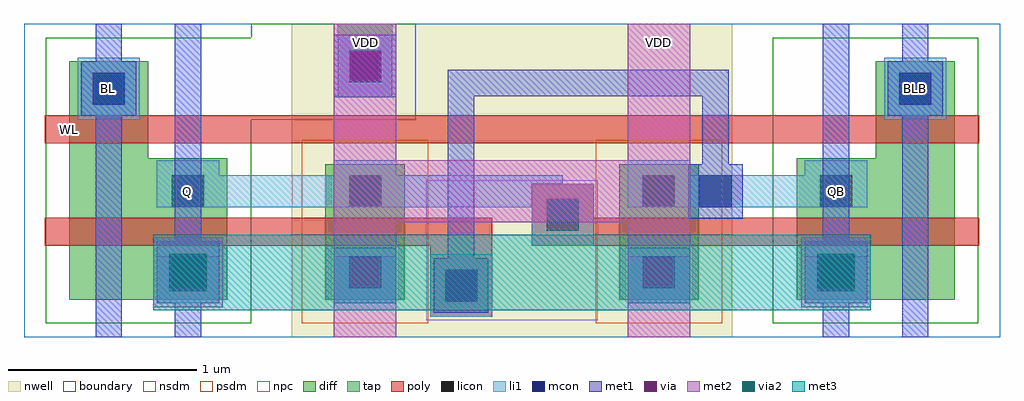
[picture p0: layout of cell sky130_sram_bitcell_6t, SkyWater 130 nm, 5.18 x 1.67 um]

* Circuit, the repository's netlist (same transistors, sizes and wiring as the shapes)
** sch_path: design/bitcell/bitcell_6t.sch
.subckt bitcell_6t BL BLB WL VDD VSS
*.iopin BL
*.iopin BLB
*.iopin WL
*.iopin VDD
*.iopin VSS
XMPL Q QB VDD VDD sky130_fd_pr__pfet_01v8 L=0.15 W=0.42 nf=1 ad=0.1218 as=0.1218 pd=1.42 ps=1.42
+ nrd=0.6905 nrs=0.6905 sa=0 sb=0 sd=0 mult=1 m=1
XMPR QB Q VDD VDD sky130_fd_pr__pfet_01v8 L=0.15 W=0.42 nf=1 ad=0.1218 as=0.1218 pd=1.42 ps=1.42
+ nrd=0.6905 nrs=0.6905 sa=0 sb=0 sd=0 mult=1 m=1
XMNL Q QB VSS VSS sky130_fd_pr__nfet_01v8 L=0.15 W=0.84 nf=1 ad=0.2436 as=0.2436 pd=2.26 ps=2.26
+ nrd=0.3452 nrs=0.3452 sa=0 sb=0 sd=0 mult=1 m=1
XMNR QB Q VSS VSS sky130_fd_pr__nfet_01v8 L=0.15 W=0.84 nf=1 ad=0.2436 as=0.2436 pd=2.26 ps=2.26
+ nrd=0.3452 nrs=0.3452 sa=0 sb=0 sd=0 mult=1 m=1
XMAL BL WL Q VSS sky130_fd_pr__nfet_01v8 L=0.15 W=0.42 nf=1 ad=0.1218 as=0.1218 pd=1.42 ps=1.42
+ nrd=0.6905 nrs=0.6905 sa=0 sb=0 sd=0 mult=1 m=1
XMAR BLB WL QB VSS sky130_fd_pr__nfet_01v8 L=0.15 W=0.42 nf=1 ad=0.1218 as=0.1218 pd=1.42 ps=1.42
+ nrd=0.6905 nrs=0.6905 sa=0 sb=0 sd=0 mult=1 m=1
.ends

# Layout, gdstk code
import gdstk
lib = gdstk.Library(unit=1e-6, precision=1e-09)
def R(c, l, rs):  # rectangles x0, y0, x1, y1
    for r in rs: c.add(gdstk.rectangle(r[:2], r[2:], *l))
nwell = (64, 20)
diff = (65, 20)
tap = (65, 44)
poly = (66, 20)
licon = (66, 44)
li1 = (67, 20)
mcon = (67, 44)
met1 = (68, 20)
via = (68, 44)
met2 = (69, 20)
via2 = (69, 44)
met3 = (70, 20)
nsdm = (93, 44)
psdm = (94, 20)
npc = (95, 20)
boundary = (235, 4)

sky130_sram_bitcell_6t = lib.new_cell('sky130_sram_bitcell_6t')
R(sky130_sram_bitcell_6t, nwell, [(1.42,0,3.76,1.665)])
R(sky130_sram_bitcell_6t, diff, [(0.24,0.2,1.08,0.95), (0.24,0.2,0.66,1.465), (1.6,0.2,2.02,0.92), (3.16,0.2,3.58,0.92), (4.1,0.2,4.94,0.95), (4.52,0.2,4.94,1.465)])
R(sky130_sram_bitcell_6t, tap, [(1.665,1.28,1.955,1.665)])
R(sky130_sram_bitcell_6t, poly, [(2.155,0.11,2.485,0.635), (0.11,0.485,2.485,0.635), (1.47,0.485,2.15,0.635), (2.695,0.485,5.07,0.635), (2.695,0.485,3.025,0.815), (3.03,0.485,3.71,0.635), (0.11,1.03,5.07,1.18)])
R(sky130_sram_bitcell_6t, licon, [(2.235,0.19,2.405,0.36), (0.785,0.26,0.955,0.43), (1.725,0.26,1.895,0.43), (3.285,0.26,3.455,0.43), (4.225,0.26,4.395,0.43), (2.775,0.565,2.945,0.735), (0.785,0.69,0.955,0.86), (1.725,0.69,1.895,0.86), (3.285,0.69,3.455,0.86), (4.225,0.69,4.395,0.86), (0.365,1.235,0.535,1.405), (4.645,1.235,4.815,1.405), (1.725,1.355,1.895,1.525)])
R(sky130_sram_bitcell_6t, li1, [(2.155,0.11,2.485,0.44), (0.705,0.18,1.035,0.43), (1.645,0.18,1.975,0.43), (3.205,0.18,3.535,0.43), (4.145,0.18,4.475,0.43), (2.695,0.485,3.025,0.815), (0.705,0.69,1.035,0.94), (0.87,0.69,2.86,0.86), (1.645,0.69,1.975,0.94), (3.205,0.69,3.535,0.94), (3.37,0.69,4.31,0.86), (3.585,0.69,3.755,0.86), (4.145,0.69,4.475,0.94), (0.285,1.155,0.615,1.485), (4.565,1.155,4.895,1.485), (1.645,1.275,1.975,1.605)])
R(sky130_sram_bitcell_6t, mcon, [(2.235,0.19,2.405,0.36), (0.785,0.26,0.955,0.43), (1.725,0.26,1.895,0.43), (3.285,0.26,3.455,0.43), (4.225,0.26,4.395,0.43), (3.585,0.69,3.755,0.86), (0.365,1.235,0.535,1.405), (4.645,1.235,4.815,1.405), (1.725,1.355,1.895,1.525)])
R(sky130_sram_bitcell_6t, met1, [(0.38,0,0.52,1.665), (0.8,0,0.94,1.665), (4.24,0,4.38,1.665), (4.66,0,4.8,1.665), (2.175,0.13,2.465,0.42), (0.705,0.18,1.035,0.51), (1.645,0.18,1.975,0.475), (3.205,0.18,3.535,0.475), (4.145,0.18,4.475,0.51), (2.25,0.275,2.39,1.42), (3.525,0.63,3.815,0.92), (3.6,0.775,3.74,1.42), (0.305,1.175,0.595,1.465), (4.585,1.175,4.875,1.465), (1.645,1.275,1.975,1.605), (2.25,1.28,3.74,1.42)])
R(sky130_sram_bitcell_6t, via, [(0.795,0.27,0.945,0.42), (1.735,0.27,1.885,0.42), (3.295,0.27,3.445,0.42), (4.235,0.27,4.385,0.42), (1.735,1.365,1.885,1.515)])
R(sky130_sram_bitcell_6t, met2, [(1.645,0,1.975,1.665), (3.205,0,3.535,1.665), (0.685,0.16,1.055,0.53), (4.125,0.16,4.495,0.53), (1.81,0.61,3.37,0.94)])
R(sky130_sram_bitcell_6t, via2, [(0.77,0.245,0.97,0.445), (4.21,0.245,4.41,0.445)])
R(sky130_sram_bitcell_6t, met3, [(0.685,0.145,4.495,0.545)])
R(sky130_sram_bitcell_6t, nsdm, [(0.115,0.075,1.205,1.59), (3.975,0.075,5.065,1.59), (1.205,1.155,2.08,1.665)])
R(sky130_sram_bitcell_6t, psdm, [(1.475,0.075,2.145,1.045), (3.035,0.075,3.705,1.045)])
R(sky130_sram_bitcell_6t, npc, [(2.135,0.09,3.045,0.835)])
R(sky130_sram_bitcell_6t, boundary, [(0,0,5.18,1.665)])
sky130_sram_bitcell_6t.add(gdstk.Label('WL', (0.24,1.105), layer=66, texttype=5))
sky130_sram_bitcell_6t.add(gdstk.Label('Q', (0.87,0.775), layer=67, texttype=5))
sky130_sram_bitcell_6t.add(gdstk.Label('QB', (4.31,0.775), layer=67, texttype=5))
sky130_sram_bitcell_6t.add(gdstk.Label('BL', (0.45,1.32), layer=68, texttype=5))
sky130_sram_bitcell_6t.add(gdstk.Label('BLB', (4.73,1.32), layer=68, texttype=5))
sky130_sram_bitcell_6t.add(gdstk.Label('VSS', (0.87,0.745), layer=68, texttype=5))
sky130_sram_bitcell_6t.add(gdstk.Label('VSS', (4.31,0.745), layer=68, texttype=5))
sky130_sram_bitcell_6t.add(gdstk.Label('VDD', (1.81,1.565), layer=69, texttype=5))
sky130_sram_bitcell_6t.add(gdstk.Label('VDD', (3.37,1.565), layer=69, texttype=5))

lib.write_gds('sky130_sram_bitcell_6t.gds')
